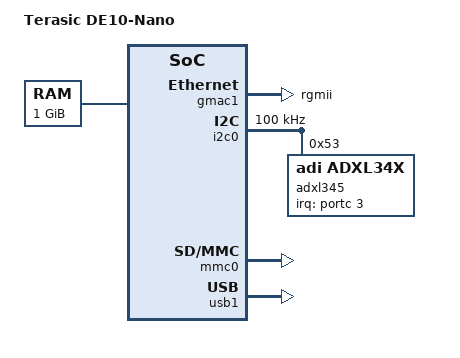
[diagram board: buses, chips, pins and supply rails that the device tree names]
// SPDX-License-Identifier: GPL-2.0+
/*
 * Copyright (C) 2017, Intel Corporation
 *
 * based on socfpga_cyclone5_de0_nano_soc.dts
 */

#include "socfpga_cyclone5.dtsi"
#include <dt-bindings/interrupt-controller/irq.h>
#include <dt-bindings/gpio/gpio.h>

/ {
	model = "Terasic DE10-Nano";
	compatible = "altr,socfpga-cyclone5", "altr,socfpga";

	chosen {
		bootargs = "earlyprintk";
		stdout-path = "serial0:115200n8";
	};

	memory@0 {
		device_type = "memory";
		reg = <0x0 0x40000000>;	/* 1GB */
	};

	soc {
		fpga_axi: axi_h2f_lw_bridge@0xff200000 {
			compatible = "simple-bus";
			reg = <0xff200000 0x00200000>;
			#address-cells = <1>;
			#size-cells = <1>;
			ranges = <0x00000000 0xff200000 0x00200000>;
		};
	};
};

&gmac1 {
	status = "okay";
	phy-mode = "rgmii";

	rxd0-skew-ps = <420>;
	rxd1-skew-ps = <420>;
	rxd2-skew-ps = <420>;
	rxd3-skew-ps = <420>;
	txen-skew-ps = <0>;
	txc-skew-ps = <1860>;
	rxdv-skew-ps = <420>;
	rxc-skew-ps = <1680>;
};

&gpio0 {
	status = "okay";
};

&gpio1 {
	status = "okay";
};

&gpio2 {
	status = "okay";
};

&i2c0 {
	status = "okay";
	clock-frequency = <100000>;

	adxl345@53 {
		compatible = "adi,adxl34x";
		reg = <0x53>;
		interrupt-parent = <&portc>;
		interrupts = <3 2>;
	};
};

&mmc0 {
	status = "okay";
};

&uart0 {
	clock-frequency = <100000000>;
};

&usb1 {
	status = "okay";
};
